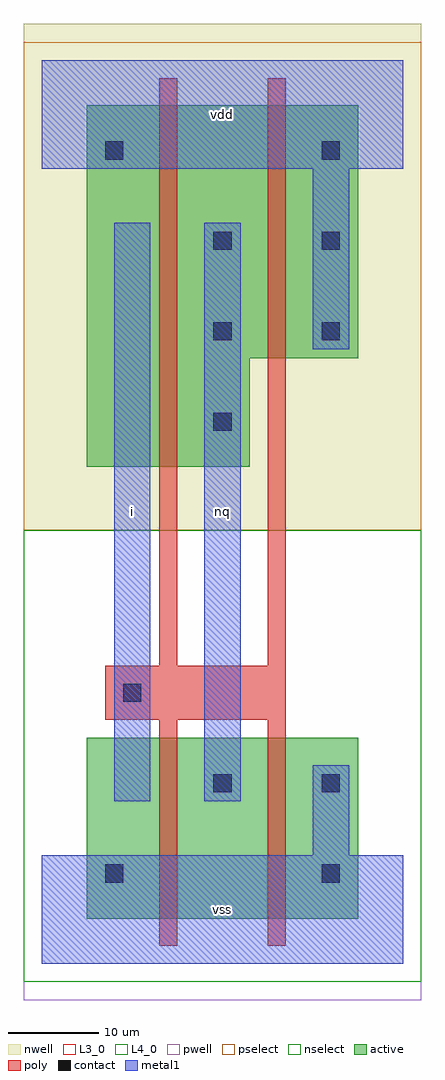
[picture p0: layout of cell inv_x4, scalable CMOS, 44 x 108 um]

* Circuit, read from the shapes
.subckt inv_x4 i nq vdd vss
M1 nq i vss VSUBS nfet w=20u l=2u m=2
M2 nq i vdd n1 pfet w=40u l=2u
M3 vdd i nq n1 pfet w=28u l=2u
.ends

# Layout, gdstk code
import gdstk
lib = gdstk.Library(unit=1e-6, precision=1e-09)
def R(c, l, rs):  # rectangles x0, y0, x1, y1
    for r in rs: c.add(gdstk.rectangle(r[:2], r[2:], *l))
def A(c, l, x, y, w, h, nx, ny, dx, dy):  # array of equal rectangles
    R(c, l, [(x+i*dx, y+j*dy, x+i*dx+w, y+j*dy+h) for i in range(nx) for j in range(ny)])
L3_0 = (3, 0)
L4_0 = (4, 0)
contact = (25, 0)
pwell = (41, 0)
nwell = (42, 0)
active = (43, 0)
pselect = (44, 0)
nselect = (45, 0)
poly = (46, 0)
metal1 = (49, 0)

inv_x4 = lib.new_cell('inv_x4')
R(inv_x4, L3_0, [(5,5,35,25)])
R(inv_x4, L4_0, [(5,55,23,67), (5,67,35,95)])
A(inv_x4, contact, 19, 59, 2, 2, 1, 3, 0, 10)
A(inv_x4, contact, 31, 69, 2, 2, 1, 3, 0, 10)
R(inv_x4, contact, [(7,9,9,11), (31,9,33,11), (19,19,21,21), (31,19,33,21), (9,29,11,31), (7,89,9,91)])
R(inv_x4, pwell, [(-2,-4,42,48)])
R(inv_x4, nwell, [(-2,48,42,104)])
R(inv_x4, active, [(5,5,35,25), (5,55,23,67), (5,67,35,95)])
R(inv_x4, pselect, [(-2,48,42,102)])
R(inv_x4, nselect, [(-2,-2,42,48)])
R(inv_x4, poly, [(13,2,15,27), (25,2,27,27), (7,27,27,33), (13,33,15,98), (25,33,27,98)])
R(inv_x4, metal1, [(0,0,40,12), (30,12,34,22), (8,18,12,82), (18,18,22,82), (30,68,34,88), (0,88,40,100)])
inv_x4.add(gdstk.Label('i', (10,50), layer=49, texttype=0))
inv_x4.add(gdstk.Label('vss', (20,6), layer=49, texttype=0))
inv_x4.add(gdstk.Label('nq', (20,50), layer=49, texttype=0))
inv_x4.add(gdstk.Label('vdd', (20,94), layer=49, texttype=0))

lib.write_gds('inv_x4.gds')
